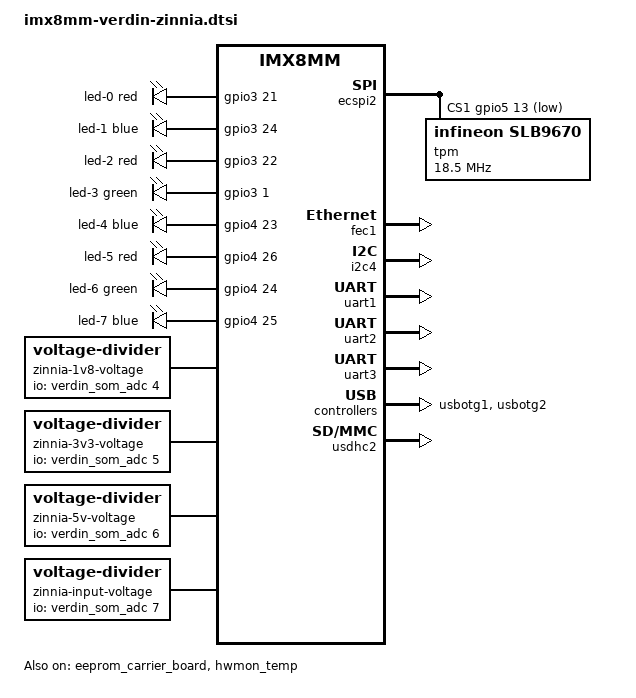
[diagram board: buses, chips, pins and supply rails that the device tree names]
// SPDX-License-Identifier: GPL-2.0-or-later OR MIT
/*
 * Copyright (c) Toradex
 *
 * Common dtsi for Verdin IMX8MM SoM on Zinnia carrier board
 *
 * https://www.toradex.com/computer-on-modules/verdin-arm-family/nxp-imx-8m-mini-nano
 * https://www.toradex.com/products/carrier-board/zinnia-carrier-board
 */

#include <dt-bindings/leds/common.h>

/ {
	leds {
		compatible = "gpio-leds";
		pinctrl-names = "default";
		pinctrl-0 = <&pinctrl_zinnia_leds>;

		/* LED1 Red - SODIMM 48 - LED1_R */
		led-0 {
			color = <LED_COLOR_ID_RED>;
			default-state = "off";
			function = LED_FUNCTION_STATUS;
			function-enumerator = <1>;
			gpios = <&gpio3 21 GPIO_ACTIVE_HIGH>;
		};

		/* LED1 Blue - SODIMM 46 - LED1_B */
		led-1 {
			color = <LED_COLOR_ID_BLUE>;
			default-state = "off";
			function = LED_FUNCTION_STATUS;
			function-enumerator = <1>;
			gpios = <&gpio3 24 GPIO_ACTIVE_HIGH>;
		};

		/* LED3 Red - SODIMM 44 - LED3_R */
		led-2 {
			color = <LED_COLOR_ID_RED>;
			default-state = "off";
			function = LED_FUNCTION_STATUS;
			function-enumerator = <3>;
			gpios = <&gpio3 22 GPIO_ACTIVE_HIGH>;
		};

		/* LED3 Green - SODIMM 54 - LED3_G */
		led-3 {
			color = <LED_COLOR_ID_GREEN>;
			default-state = "off";
			function = LED_FUNCTION_STATUS;
			function-enumerator = <3>;
			gpios = <&gpio3 1 GPIO_ACTIVE_HIGH>;
		};

		/* LED3 Blue - SODIMM 36 - LED3_B */
		led-4 {
			color = <LED_COLOR_ID_BLUE>;
			default-state = "off";
			function = LED_FUNCTION_STATUS;
			function-enumerator = <3>;
			gpios = <&gpio4 23 GPIO_ACTIVE_HIGH>;
		};

		/* LED4 Red - SODIMM 34 - LED4_R */
		led-5 {
			color = <LED_COLOR_ID_RED>;
			default-state = "off";
			function = LED_FUNCTION_STATUS;
			function-enumerator = <4>;
			gpios = <&gpio4 26 GPIO_ACTIVE_HIGH>;
		};

		/* LED4 Green - SODIMM 32 - LED4_G */
		led-6 {
			color = <LED_COLOR_ID_GREEN>;
			default-state = "off";
			function = LED_FUNCTION_STATUS;
			function-enumerator = <4>;
			gpios = <&gpio4 24 GPIO_ACTIVE_HIGH>;
		};

		/* LED4 Blue - SODIMM 30 - LED4_B */
		led-7 {
			color = <LED_COLOR_ID_BLUE>;
			default-state = "off";
			function = LED_FUNCTION_STATUS;
			function-enumerator = <4>;
			gpios = <&gpio4 25 GPIO_ACTIVE_HIGH>;
		};
	};

	zinnia-1v8-voltage {
		compatible = "voltage-divider";
		full-ohms = <39000>; /* 12k + 27k */
		/* Verdin ADC_4 */
		io-channels = <&verdin_som_adc 4>;
		output-ohms = <27000>;
	};

	zinnia-3v3-voltage {
		compatible = "voltage-divider";
		full-ohms = <54000>; /* 27k + 27k */
		/* Verdin ADC_3 */
		io-channels = <&verdin_som_adc 5>;
		output-ohms = <27000>;
	};

	zinnia-5v-voltage {
		compatible = "voltage-divider";
		full-ohms = <39000>; /* 27k + 12k */
		/* Verdin ADC_2 */
		io-channels = <&verdin_som_adc 6>;
		output-ohms = <12000>;
	};

	/* Zinnia Power Supply Input Voltage */
	zinnia-input-voltage {
		compatible = "voltage-divider";
		full-ohms = <204700>; /* 200k + 4.7k */
		/* Verdin ADC_1 */
		io-channels = <&verdin_som_adc 7>;
		output-ohms = <4700>;
	};
};

/* Verdin SPI_1 */
&ecspi2 {
	pinctrl-0 = <&pinctrl_ecspi2>, <&pinctrl_uart3_cts_gpio>;
	cs-gpios = <&gpio5 9 GPIO_ACTIVE_LOW>, <&gpio5 13 GPIO_ACTIVE_LOW>;

	status = "okay";

	tpm@1 {
		compatible = "infineon,slb9670", "tcg,tpm_tis-spi";
		reg = <1>;
		spi-max-frequency = <18500000>;
	};
};

/* EEPROM on Zinnia */
&eeprom_carrier_board {
	status = "okay";
};

/* Verdin ETH_1 */
&fec1 {
	status = "okay";
};

&gpio1 {
	gpio-line-names =
		"DI2_RB", /* SODIMM 216 */ /* 0 */
		"",
		"",
		"",
		"",
		"",
		"",
		"",
		"DO3_EN", /* SODIMM 220 */
		"DI3_EN", /* SODIMM 222 */
		"", /* 10 */
		"DI2_EN", /* SODIMM 218 */
		"",
		"",
		"",
		"",
		"",
		"",
		"",
		"",
		"", /* 20 */
		"",
		"",
		"",
		"",
		"";
};

&gpio2 {
	gpio-line-names =
		"", /* 0 */
		"",
		"",
		"",
		"",
		"",
		"",
		"",
		"",
		"",
		"", /* 10 */
		"",
		"",
		"",
		"",
		"",
		"",
		"",
		"",
		"",
		""; /* 20 */
};

&gpio3 {
	gpio-line-names =
		"", /* 0 */
		"",
		"",
		"",
		"DO1_EN", /* SODIMM 206 */
		"",
		"DI3_RB", /* SODIMM 56 */
		"",
		"",
		"",
		"", /* 10 */
		"",
		"",
		"",
		"",
		"",
		"",
		"",
		"",
		"",
		"", /* 20 */
		"",
		"",
		"",
		"",
		"";
};

&gpio4 {
	gpio-line-names =
		"", /* 0 */
		"",
		"",
		"",
		"",
		"",
		"",
		"",
		"",
		"",
		"", /* 10 */
		"",
		"",
		"",
		"",
		"",
		"",
		"",
		"",
		"",
		"", /* 20 */
		"",
		"",
		"",
		"",
		"",
		"",
		"",
		"",
		"",
		"",
		"";
};

&gpio5 {
	gpio-line-names =
		"", /* 0 */
		"",
		"",
		"",
		"",
		"DI1_EN", /* SODIMM 208 */
		"",
		"",
		"",
		"",
		"", /* 10 */
		"",
		"",
		"",
		"",
		"",
		"",
		"",
		"",
		"",
		"", /* 20 */
		"",
		"",
		"",
		"",
		"",
		"DI1_RB", /* SODIMM 210 */
		"DO2_EN", /* SODIMM 212 */
		"",
		"";
};

/* Temperature sensor on Zinnia */
&hwmon_temp {
	compatible = "ti,tmp1075";

	status = "okay";
};

/* Verdin I2C_1 */
&i2c4 {
	status = "okay";
};

/* Verdin UART_3 */
&uart1 {
	status = "okay";
};

/* Verdin UART_1 */
&uart2 {
	status = "okay";
};

/* Verdin UART_2 */
&uart3 {
	pinctrl-names = "default";
	pinctrl-0 = <&pinctrl_uart3>, <&pinctrl_uart3_rts>;
	rs485-rx-during-tx;
	linux,rs485-enabled-at-boot-time;

	status = "okay";
};

/* Verdin USB_1 */
&usbotg1 {
	status = "okay";
};

/* Verdin USB_2 */
&usbotg2 {
	status = "okay";
};

/* Verdin SD_1 */
&usdhc2 {
	status = "okay";
};

&iomuxc {
	pinctrl-names = "default";
	pinctrl-0 = <&pinctrl_gpio1>,
		    <&pinctrl_gpio2>,
		    <&pinctrl_gpio3>,
		    <&pinctrl_gpio4>,
		    <&pinctrl_gpio5>,
		    <&pinctrl_gpio6>,
		    <&pinctrl_gpio7>,
		    <&pinctrl_gpio8>,
		    <&pinctrl_qspi1_io0_gpio>;

	pinctrl_qspi1_io0_gpio: gpio3io6grp {
		fsl,pins = <MX8MM_IOMUXC_NAND_DATA00_GPIO3_IO6	0x184>;	/* SODIMM 56 */
	};

	pinctrl_uart3_cts_gpio: gpio5io9grp {
		fsl,pins = <MX8MM_IOMUXC_ECSPI1_SS0_GPIO5_IO9	0x184>;	/* SODIMM 143 */
	};

	pinctrl_zinnia_leds: zinnialedsgrp {
		fsl,pins =
			<MX8MM_IOMUXC_SAI2_TXC_GPIO4_IO25	0x16>, /* SODIMM 30 */
			<MX8MM_IOMUXC_SAI2_TXFS_GPIO4_IO24	0x16>, /* SODIMM 32 */
			<MX8MM_IOMUXC_SAI2_TXD0_GPIO4_IO26	0x16>, /* SODIMM 34 */
			<MX8MM_IOMUXC_SAI2_RXD0_GPIO4_IO23	0x16>, /* SODIMM 36 */
			<MX8MM_IOMUXC_SAI5_RXD1_GPIO3_IO22	0x16>, /* SODIMM 44 */
			<MX8MM_IOMUXC_SAI5_RXD3_GPIO3_IO24	0x16>, /* SODIMM 46 */
			<MX8MM_IOMUXC_SAI5_RXD0_GPIO3_IO21	0x16>, /* SODIMM 48 */
			<MX8MM_IOMUXC_NAND_CE0_B_GPIO3_IO1	0x16>; /* SODIMM 54 */
	};
};
